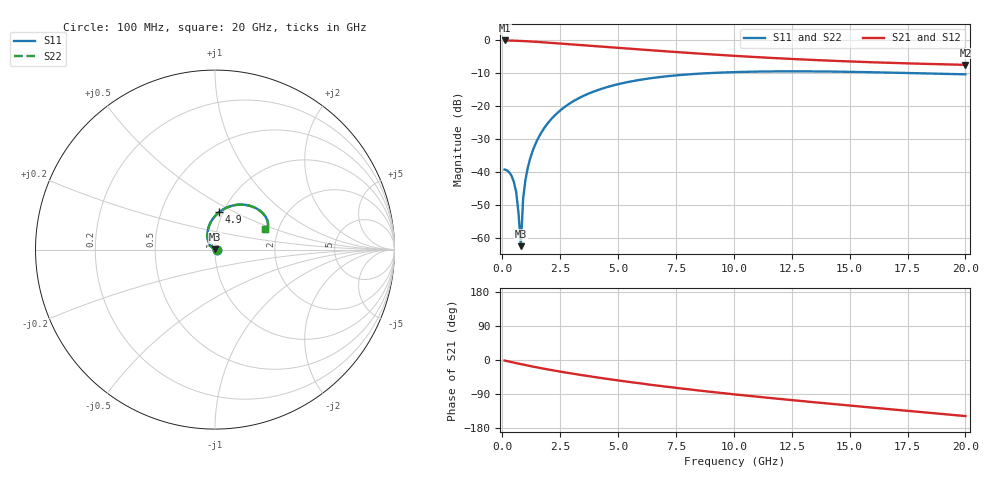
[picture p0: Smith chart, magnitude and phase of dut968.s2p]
! Touchstone file exported from HFSS 2024.1.0
!  File:  C:/UserFiles/LocalFiles/RDL_TSV_Batchsim/temp_RDL_TSV_968_1779970829.aedt
!  Generated:  08:35:03 PM May 28, 2026
!  Design:  RDL_TSV
!  Project:  temp_RDL_TSV_968_1779970829
!  Setup:  Setup1
!  Solution:  Sweep
! Variables:
!  dtsv = 8.55um
!  hbump = 3um
!  htsv = 77.87um
!  ldown = 469.38um
!  lrdl = 128um
!  p = 40
!  p1 = 57.37um
!  rhole = 10um
!  subl = 1920.14um
!  t = 450um
!  tdown = 2.61um
!  trdl = 3.72um
!  viad = 10um
!  wdown = 26.61um
!  wrdl = 18.2um
!  xbump = 18um
# GHz S MA R 50.000000
! Terminal data exported
! Port[1] = TM1_1_T1
! Port[2] = TM1_4_T1
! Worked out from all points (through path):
!   200 points, 100 MHz to 20 GHz, reference 50 ohm
!   highest |S21| = -0.10 dB at 100 MHz (marker M1); lowest = -7.5 dB at 20 GHz (marker M2)
!   group delay of S21, straight-line fit = 19.3 ps
!   lowest |S11| = -62.6 dB at 800 MHz (marker M3), VSWR 1.00, Z = 50 + j0.0622 ohm
!   |S11| at or under -10 dB: start of sweep to 8.969 GHz; 17.61 GHz to end of sweep
!   |S22| runs from -62.6 to -9.5 dB; largest |S21 - S12| = 2.3e-14
!   S11 on the Smith chart (normalised r, x): 100 MHz: 1.02, -0.00; 4.9 GHz: 0.96, +0.42; 20 GHz: 1.71, +0.42
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0.1  0.01084 -0.2  0.9887 -1.4  0.9887 -1.4  0.01084 -0.2
! Gamma 0 0 0 0
! Port Impedance 50 0 50 0
0.3  0.009854 -2.8  0.9858 -4.2  0.9858 -4.2  0.009854 -2.8
0.4  0.008693 -4.9  0.9837 -5.6  0.9837 -5.6  0.008693 -4.9
0.5  0.007043 -7.0  0.9813 -6.9  0.9813 -6.9  0.007045 -7.0
0.6  0.004931 -8.3  0.9785 -8.2  0.9785 -8.2  0.004933 -8.3
0.7  0.002402 -5.6  0.9753 -9.6  0.9753 -9.6  0.002405 -5.6
0.8  0.0007442 123.3  0.9719 -10.9  0.9719 -10.9  0.0007422 122.9
0.9  0.003935 151.2  0.9681 -12.2  0.9681 -12.2  0.00393 151.1
1  0.007577 151.6  0.9641 -13.4  0.9641 -13.4  0.00757 151.5
1.1  0.01153 150.0  0.9598 -14.7  0.9598 -14.7  0.01152 150.0
1.2  0.01577 147.9  0.9553 -15.9  0.9553 -15.9  0.01576 147.9
1.4  0.02499 143.4  0.9457 -18.4  0.9457 -18.4  0.02497 143.4
1.8  0.04564 134.2  0.9251 -23.0  0.9251 -23.0  0.04562 134.2
2.2  0.06812 125.6  0.9036 -27.4  0.9036 -27.4  0.06808 125.6
2.8  0.1029 114.0  0.8714 -33.7  0.8714 -33.7  0.1028 114.0
3.5  0.1422 102.4  0.8352 -40.5  0.8352 -40.5  0.1421 102.4
4.9  0.2101 83.6  0.7677 -53.0  0.7677 -53.0  0.21 83.6
6.8  0.2749 64.8  0.6864 -68.3  0.6864 -68.3  0.2747 64.8
10.1  0.3276 43.4  0.5753 -91.2  0.5753 -91.2  0.3273 43.4
13.4  0.3352 30.6  0.5005 -111.1  0.5005 -111.1  0.3349 30.6
16.7  0.3216 23.7  0.4525 -129.7  0.4525 -129.7  0.3212 23.7
20  0.3025 21.8  0.4216 -148.0  0.4216 -148.0  0.3021 21.8
